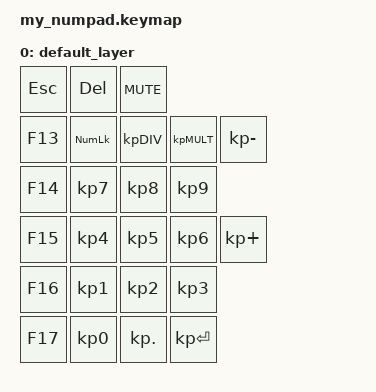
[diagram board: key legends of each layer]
#include <behaviors.dtsi>
#include <dt-bindings/zmk/keys.h>

/ {
    keymap {
        compatible = "zmk,keymap";

        default_layer {
            // Order must match the matrix transform in my_numpad.overlay.
            bindings = <
                &kp ESC  &kp DEL    &kp C_MUTE
                &kp F13  &kp KP_NUM &kp KP_DIV &kp KP_MULT &kp KP_MINUS
                &kp F14  &kp KP_N7  &kp KP_N8  &kp KP_N9
                &kp F15  &kp KP_N4  &kp KP_N5  &kp KP_N6   &kp KP_PLUS
                &kp F16  &kp KP_N1  &kp KP_N2  &kp KP_N3
                &kp F17  &kp KP_N0  &kp KP_DOT &kp KP_ENTER
            >;
        };
    };
};
